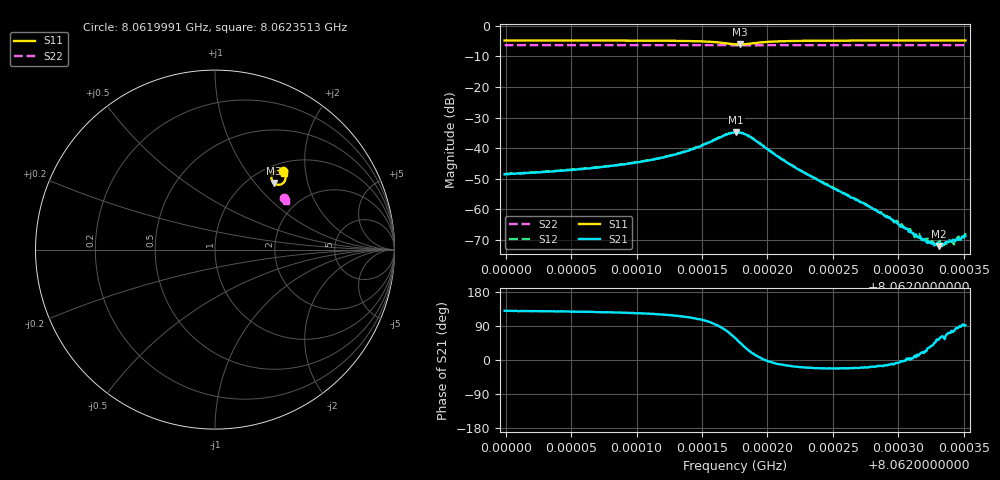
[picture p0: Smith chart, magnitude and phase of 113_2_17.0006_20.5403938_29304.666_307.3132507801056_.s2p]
#  HZ  S  RI  R  50.00
! Rohde & Schwarz Vector Network Analyzer
! Rohde-Schwarz,ZNB20-2Port,1311601062101988,3.16
! Created: UTC 3/20/2024, 10:57:07 PM
! freq[Hz]  re:S11  im:S11  re:S21  im:S21  re:S12  im:S12  re:S22  im:S22
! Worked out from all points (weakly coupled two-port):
!   401 points, 8.0619991 GHz to 8.0623513 GHz, reference 50 ohm
!   highest |S21| = -34.85 dB at 8.0621761 GHz (marker M1); lowest = -72.0 dB at 8.0623311 GHz (marker M2)
!   lowest |S11| = -6.1 dB at 8.0621787 GHz (marker M3), VSWR 2.96, Z = 63.9 + j62.8 ohm
!   |S11| at or under -10 dB: nowhere
!   |S22| runs from -6.4 to -6.3 dB; largest |S21 - S12| = 0.0012
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8.0619991e9  0.3763 0.4356  -0.00238 0.00286  -0.00225 0.00304  0.3868 0.2897
8.0620581e9  0.3821 0.4296  -0.00274 0.00363  -0.00253 0.00382  0.3888 0.2867
8.06208892e9  0.3858 0.4247  -0.00309 0.00438  -0.00284 0.00464  0.3898 0.285
8.06211709e9  0.39 0.4173  -0.00345 0.00586  -0.00316 0.00612  0.391 0.2833
8.06213823e9  0.3931 0.4057  -0.00356 0.00819  -0.0031 0.0085  0.3915 0.2817
8.06216112e9  0.3848 0.3759  -0.000635 0.014  0.000276 0.0143  0.3913 0.2796
8.06217521e9  0.3408 0.3632  0.0095 0.0154  0.0105 0.0149  0.3897 0.2791
8.06217609e9  0.3371 0.3645  0.0102 0.015  0.0113 0.0144  0.3895 0.2792
8.06217873e9  0.3267 0.3714  0.0123 0.013  0.0131 0.0123  0.3894 0.2795
8.06218666e9  0.3141 0.4023  0.0142 0.0059  0.0146 0.00502  0.3895 0.2808
8.0622122e9  0.3468 0.4396  0.00617 -0.00142  0.00616 -0.00182  0.3924 0.2806
8.06223421e9  0.3618 0.4396  0.00315 -0.0012  0.00306 -0.00141  0.3936 0.2793
8.06229321e9  0.3769 0.4336  0.000731 -0.000162  0.000697 -0.000192  0.396 0.2762
8.06230818e9  0.379 0.4324  0.000425 3.56e-05  0.000439 1.07e-05  0.3965 0.2754
8.06231258e9  0.3795 0.4321  0.000363 7.46e-05  0.000346 8.14e-06  0.3967 0.2751
8.06232227e9  0.3805 0.4313  0.000243 0.00014  0.000293 0.000157  0.397 0.2747
8.06232843e9  0.3813 0.4307  0.000184 0.000192  0.000195 0.000216  0.3971 0.2742
8.06233107e9  0.3816 0.4306  0.000146 0.000204  0.000171 0.000218  0.3972 0.2742
8.06233548e9  0.382 0.4303  0.000158 0.000225  0.000144 0.000225  0.3976 0.2739
8.062339e9  0.3824 0.43  9.38e-05 0.000282  7.19e-05 0.000304  0.3975 0.2738
8.06234252e9  0.3828 0.4296  7.23e-05 0.000307  4.34e-05 0.000263  0.3977 0.2736
8.06235133e9  0.3836 0.4291  -1.1e-05 0.000368  2.01e-05 0.000408  0.3979 0.2731
